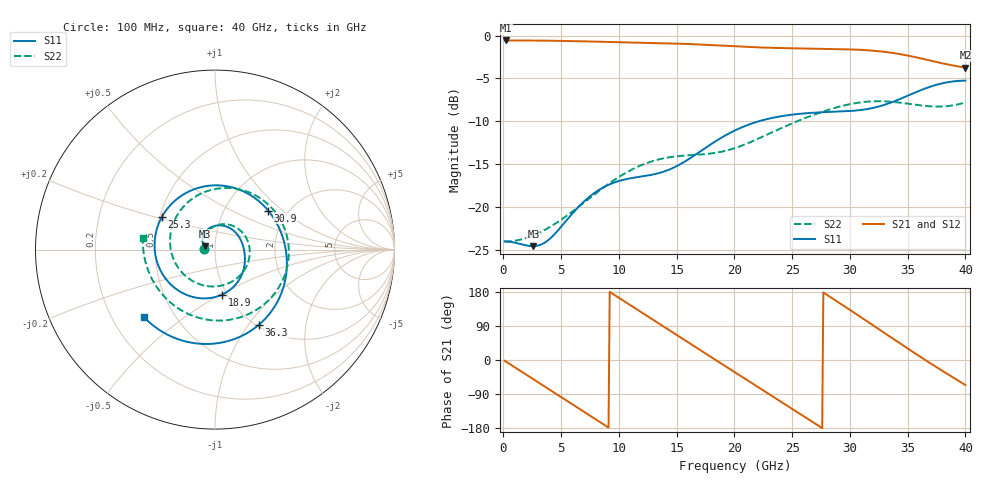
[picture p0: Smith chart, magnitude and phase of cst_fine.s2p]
! B_s8_L1L3_bd_d300: L1→L3, back-drilled to 0.2 mm below L3, drill Ø0.3
! stackup: 8-layer 1.6 mm FR-4 (generic)
! ports: 1, 2
! CST Studio Suite 2025.5 Release from 2025-05-30, time domain (FIT, hexahedral, PBA), 386496 mesh cells, 72 s
! mesh: {'lpw': 30.0, 'lpb': 30.0, 'minstep': 0.0, 'ratio': 20}; ports: port 1 (face); port 2 (face)
! interpolated from CST's 1001 samples to the case grid
# Hz S RI R 50
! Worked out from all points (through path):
!   400 points, 100 MHz to 40 GHz, reference 50 ohm
!   highest |S21| = -0.57 dB at 200 MHz (marker M1); lowest = -3.7 dB at 40 GHz (marker M2)
!   group delay of S21, straight-line fit = 54.6 ps
!   lowest |S11| = -24.6 dB at 2.6 GHz (marker M3), VSWR 1.13, Z = 44.7 + j1.61 ohm
!   |S11| at or under -10 dB: start of sweep to 22.12 GHz
!   |S22| runs from -24.1 to -7.7 dB; largest |S21 - S12| = 0.0059
!   S11 on the Smith chart (normalised r, x): 100 MHz: 0.88, +0.00; 18.9 GHz: 0.95, -0.51; 25.3 GHz: 0.51, +0.21; 30.9 GHz: 1.60, +0.80; 36.3 GHz: 1.03, -1.12; 40 GHz: 0.34, -0.36
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1e8  -0.0629 0.00102  0.9364 -0.0321  0.9368 -0.0321  -0.0626 0.00095
2e8  -0.0629 0.00205  0.9347 -0.0641  0.9352 -0.0642  -0.0626 0.0019
2.6e9  -0.0562 0.018  0.5885 -0.7274  0.5881 -0.7276  -0.0629 0.0265
4.7e9  -0.0656 0.0312  -0.0364 -0.9314  -0.0365 -0.9309  -0.0602 0.0551
6.8e9  -0.0649 0.0823  -0.6365 -0.673  -0.636 -0.6732  -0.0439 0.094
8.4e9  -0.0208 0.1254  -0.8884 -0.2431  -0.8886 -0.2436  -0.0106 0.1254
9.9e9  0.0475 0.1328  -0.8889 0.2215  -0.8894 0.2217  0.0429 0.1418
1.18e10  0.1228 0.0861  -0.5714 0.7086  -0.5711 0.7091  0.1291 0.1162
1.34e10  0.1553 0.0237  -0.1189 0.8973  -0.1184 0.897  0.1845 0.041
1.49e10  0.1665 -0.0414  0.3352 0.8342  0.3348 0.8336  0.1876 -0.0603
1.65e10  0.1552 -0.1248  0.7139 0.532  0.7132 0.5324  0.1206 -0.1609
1.89e10  0.0386 -0.2512  0.8598 -0.1554  0.8607 -0.1552  -0.0741 -0.1966
2.01e10  -0.0702 -0.2718  0.7209 -0.4787  0.7214 -0.4795  -0.1689 -0.1428
2.27e10  -0.2986 -0.126  0.0894 -0.846  0.0883 -0.8455  -0.2484 0.0826
2.53e10  -0.2966 0.1811  -0.5909 -0.6007  -0.5895 -0.6006  -0.1137 0.292
2.67e10  -0.1726 0.3092  -0.7988 -0.2596  -0.7984 -0.2612  0.021 0.3408
2.87e10  0.0742 0.3516  -0.7768 0.3082  -0.7786 0.3086  0.2352 0.2967
3.09e10  0.2967 0.2169  -0.3364 0.7544  -0.3347 0.7559  0.3995 0.0797
3.34e10  0.3997 -0.0504  0.3628 0.71  0.3622 0.7072  0.3177 -0.2621
3.63e10  0.2452 -0.4182  0.7301 0.0558  0.7301 0.0597  -0.1029 -0.3764
3.82e10  -0.0721 -0.5253  0.5782 -0.3661  0.5828 -0.3678  -0.333 -0.196
4e10  -0.3944 -0.3778  0.2634 -0.5955  0.2602 -0.6004  -0.4024 0.064
